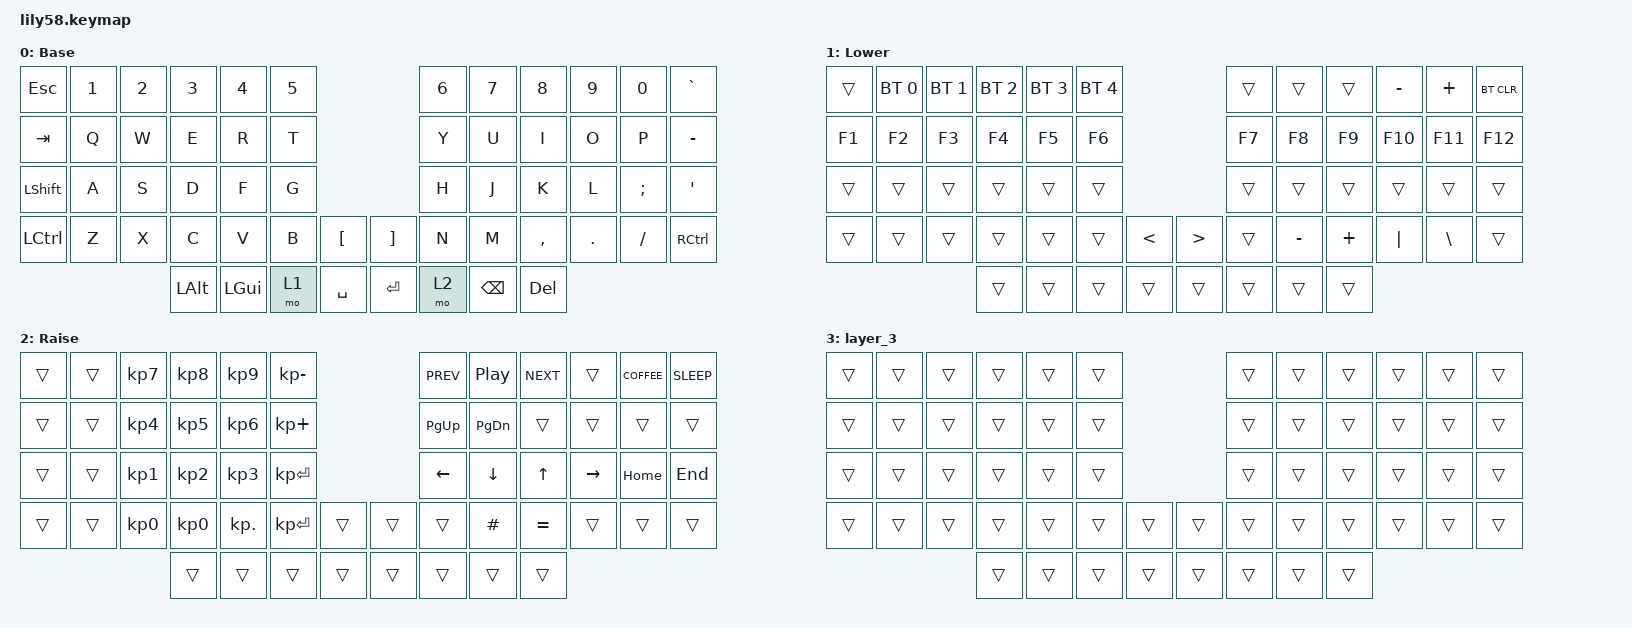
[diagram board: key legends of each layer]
/*
 * Copyright (c) 2020 The ZMK Contributors
 *
 * SPDX-License-Identifier: MIT
 * ()()))))(((***&&&&&&&&&&^^^^^&*()~)~~~~00000999999999999000999))
 */

#include <behaviors.dtsi>
#include <dt-bindings/zmk/bt.h>
#include <dt-bindings/zmk/keys.h>

/ {
    keymap {
        compatible = "zmk,keymap";

        default_layer {
            display-name = "Base";
            bindings = <
&kp ESC           &kp N1  &kp N2  &kp N3        &kp N4        &kp N5                                         &kp N6  &kp N7         &kp N8      &kp N9   &kp N0    &kp GRAVE
&kp TAB           &kp Q   &kp W   &kp E         &kp R         &kp T                                          &kp Y   &kp U          &kp I       &kp O    &kp P     &kp MINUS
&kp LEFT_SHIFT    &kp A   &kp S   &kp D         &kp F         &kp G                                          &kp H   &kp J          &kp K       &kp L    &kp SEMI  &kp SQT
&kp LEFT_CONTROL  &kp Z   &kp X   &kp C         &kp V         &kp B   &kp LEFT_BRACKET    &kp RIGHT_BRACKET  &kp N   &kp M          &kp COMMA   &kp DOT  &kp FSLH  &kp RIGHT_CONTROL
                                  &kp LEFT_ALT  &kp LEFT_GUI  &mo 1   &kp SPACE           &kp RETURN         &mo 2   &kp BACKSPACE  &kp DELETE
            >;
        };

        lower_layer {
            display-name = "Lower";
            bindings = <
&trans      &bt BT_SEL 0  &bt BT_SEL 1  &bt BT_SEL 2  &bt BT_SEL 3  &bt BT_SEL 4                                     &trans  &trans     &trans    &kp MINUS   &kp PLUS         &bt BT_CLR
&kp F1      &kp F2        &kp F3        &kp F4        &kp F5        &kp F6                                           &kp F7  &kp F8     &kp F9    &kp F10     &kp F11          &kp F12
&trans      &trans        &trans        &trans        &trans        &trans                                           &trans  &trans     &trans    &trans      &trans           &trans
&trans      &trans        &trans        &trans        &trans        &trans        &kp LESS_THAN    &kp GREATER_THAN  &trans  &kp MINUS  &kp PLUS  &kp PIPE    &kp BACKSLASH    &trans
                                        &trans        &trans        &trans        &trans           &trans            &trans  &trans     &trans
            >;
        };

        raise_layer {
            display-name = "Raise";
            bindings = <
&trans  &trans  &kp KP_NUMBER_7  &kp KP_N8        &kp KP_NUMBER_9  &kp KP_MINUS                    &kp C_PREV   &kp C_PLAY_PAUSE  &kp C_NEXT      &trans        &kp K_COFFEE  &kp K_SLEEP
&trans  &trans  &kp KP_NUMBER_4  &kp KP_NUMBER_5  &kp KP_NUMBER_6  &kp KP_PLUS                     &kp PAGE_UP  &kp PAGE_DOWN     &trans          &trans        &trans        &trans
&trans  &trans  &kp KP_NUMBER_1  &kp KP_NUMBER_2  &kp KP_NUMBER_3  &kp KP_ENTER                    &kp LEFT     &kp DOWN_ARROW    &kp UP_ARROW    &kp RIGHT     &kp HOME      &kp END
&trans  &trans  &kp KP_NUMBER_0  &kp KP_NUMBER_0  &kp KP_DOT       &kp KP_ENTER  &trans    &trans  &trans       &kp HASH          &kp EQUAL       &trans        &trans        &trans
                                 &trans           &trans           &trans        &trans    &trans  &trans       &trans            &trans
            >;
        };

        layer_3 {
            bindings = <
&trans  &trans  &trans  &trans  &trans  &trans                    &trans  &trans  &trans  &trans  &trans  &trans
&trans  &trans  &trans  &trans  &trans  &trans                    &trans  &trans  &trans  &trans  &trans  &trans
&trans  &trans  &trans  &trans  &trans  &trans                    &trans  &trans  &trans  &trans  &trans  &trans
&trans  &trans  &trans  &trans  &trans  &trans  &trans    &trans  &trans  &trans  &trans  &trans  &trans  &trans
                        &trans  &trans  &trans  &trans    &trans  &trans  &trans  &trans
            >;
        };
    };
};
